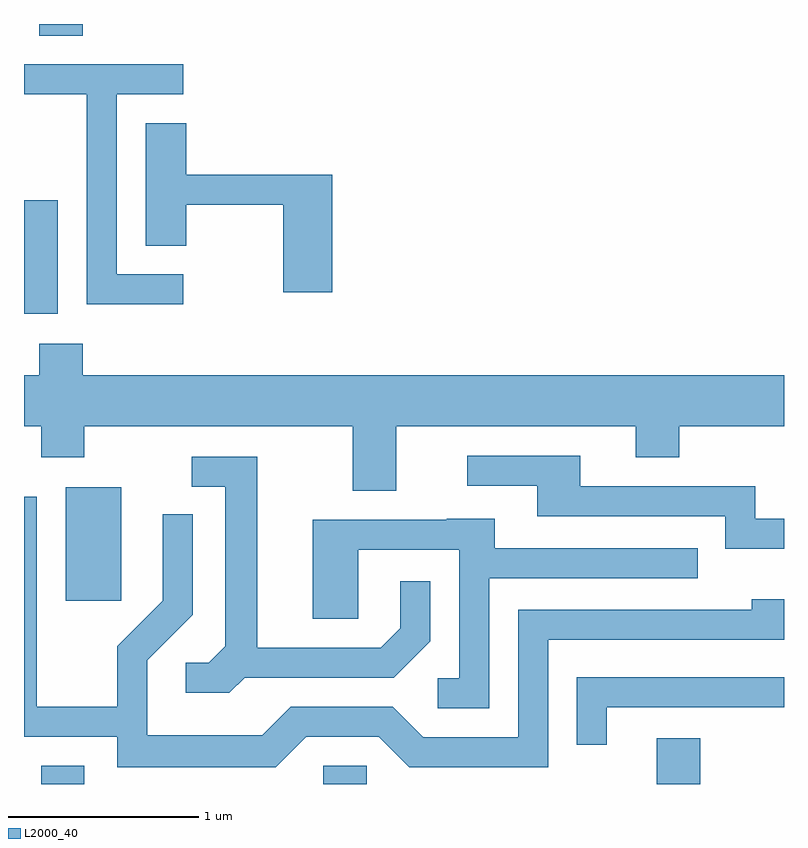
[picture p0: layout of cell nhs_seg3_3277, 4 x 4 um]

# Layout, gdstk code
import gdstk
lib = gdstk.Library(unit=1e-6, precision=1e-09)
def R(c, l, rs):  # rectangles x0, y0, x1, y1
    for r in rs: c.add(gdstk.rectangle(r[:2], r[2:], *l))
def P(c, l, *ps):  # polygons
    for p in ps: c.add(gdstk.Polygon(p, *l))
L2000_40 = (2000, 40)

nhs_seg3_3277 = lib.new_cell('nhs_seg3_3277')
R(nhs_seg3_3277, L2000_40, [(281.701,1141.892,281.929,1141.989), (283.186,1141.892,283.414,1141.989), (284.941,1141.892,285.169,1142.134), (281.831,1142.856,282.124,1143.454), (281.611,1144.366,281.789,1144.964), (281.691,1145.831,281.919,1145.892)])
P(nhs_seg3_3277, L2000_40, [(282.448,1144.574),(282.099,1144.574),(282.099,1145.521),(282.448,1145.521),(282.448,1145.679),(281.611,1145.679),(281.611,1145.521),(281.941,1145.521),(281.941,1144.416),(282.448,1144.416)],
  [(283.234,1145.099),(282.464,1145.099),(282.464,1145.369),(282.251,1145.369),(282.251,1144.726),(282.464,1144.726),(282.464,1144.941),(282.976,1144.941),(282.976,1144.481),(283.234,1144.481)],
  [(283.569,1143.776),(284.831,1143.776),(284.831,1143.611),(285.059,1143.611),(285.059,1143.776),(285.611,1143.776),(285.611,1144.044),(281.919,1144.044),(281.919,1144.209),(281.691,1144.209),(281.691,1144.044),(281.611,1144.044),(281.611,1143.776),(281.701,1143.776),(281.701,1143.611),(281.929,1143.611),(281.929,1143.776),(283.341,1143.776),(283.341,1143.436),(283.569,1143.436)],
  [(285.611,1143.289),(285.459,1143.289),(285.459,1143.459),(284.539,1143.459),(284.539,1143.619),(283.943,1143.619),(283.943,1143.461),(284.311,1143.461),(284.311,1143.301),(285.301,1143.301),(285.301,1143.131),(285.611,1143.131)],
  [(282.772,1142.451),(283.557,1142.451),(283.749,1142.644),(283.749,1142.958),(283.591,1142.958),(283.591,1142.712),(283.489,1142.609),(282.839,1142.609),(282.839,1143.614),(282.493,1143.614),(282.493,1143.456),(282.671,1143.456),(282.671,1142.617),(282.584,1142.529),(282.463,1142.529),(282.463,1142.371),(282.692,1142.371)],
  [(283.097,1142.141),(283.479,1142.141),(283.639,1141.981),(284.369,1141.981),(284.369,1142.651),(285.611,1142.651),(285.611,1142.864),(285.441,1142.864),(285.441,1142.809),(284.211,1142.809),(284.211,1142.139),(283.712,1142.139),(283.552,1142.299),(283.014,1142.299),(282.864,1142.149),(282.259,1142.149),(282.259,1142.544),(282.499,1142.784),(282.499,1143.313),(282.341,1143.313),(282.341,1142.857),(282.101,1142.617),(282.101,1142.299),(281.679,1142.299),(281.679,1143.404),(281.611,1143.404),(281.611,1142.141),(282.101,1142.141),(282.101,1141.981),(282.937,1141.981)],
  [(284.059,1142.976),(285.158,1142.976),(285.158,1143.134),(284.089,1143.134),(284.089,1143.289),(283.835,1143.289),(283.835,1143.284),(283.131,1143.284),(283.131,1142.761),(283.369,1142.761),(283.369,1143.126),(283.901,1143.126),(283.901,1142.449),(283.788,1142.449),(283.788,1142.291),(284.059,1142.291)],
  [(284.679,1142.296),(285.611,1142.296),(285.611,1142.454),(284.521,1142.454),(284.521,1142.098),(284.679,1142.098)])

lib.write_gds('nhs_seg3_3277.gds')
